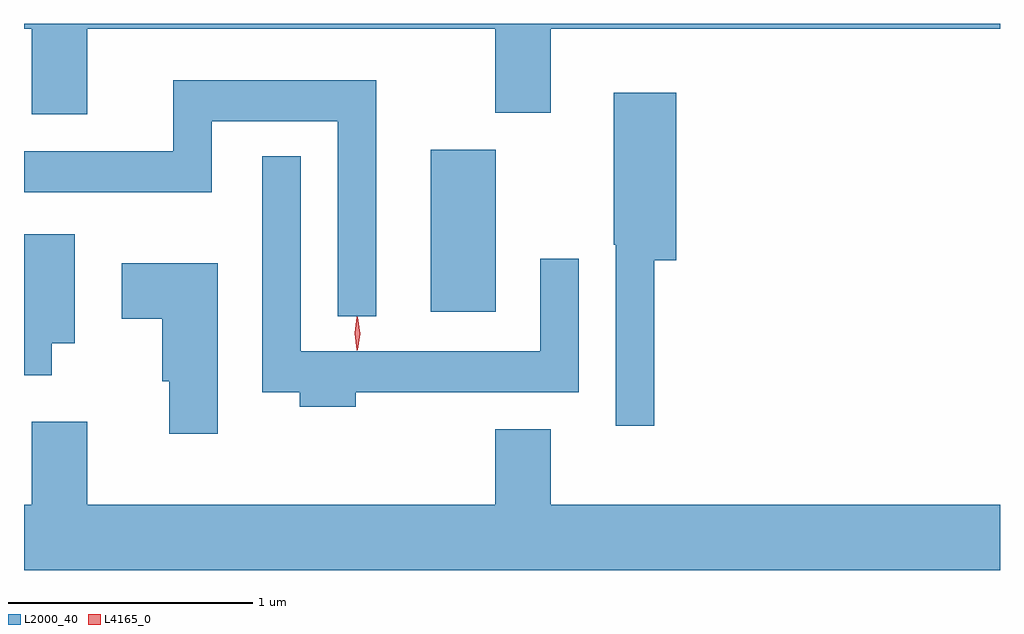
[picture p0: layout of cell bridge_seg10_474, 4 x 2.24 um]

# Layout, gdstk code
import gdstk
lib = gdstk.Library(unit=1e-6, precision=1e-09)
def R(c, l, rs):  # rectangles x0, y0, x1, y1
    for r in rs: c.add(gdstk.rectangle(r[:2], r[2:], *l))
def P(c, l, *ps):  # polygons
    for p in ps: c.add(gdstk.Polygon(p, *l))
L2000_40 = (2000, 40)
L4165_0 = (4165, 0)

bridge_seg10_474 = lib.new_cell('bridge_seg10_474')
R(bridge_seg10_474, L2000_40, [(909.376,2174.916,909.644,2175.579)])
P(bridge_seg10_474, L2000_40, [(907.969,2176.076),(909.641,2176.076),(909.641,2175.731),(909.869,2175.731),(909.869,2176.076),(911.71,2176.076),(911.71,2176.096),(907.71,2176.096),(907.71,2176.076),(907.741,2176.076),(907.741,2175.726),(907.969,2175.726)],
  [(909.154,2175.864),(908.321,2175.864),(908.321,2175.574),(907.71,2175.574),(907.71,2175.406),(908.479,2175.406),(908.479,2175.696),(908.996,2175.696),(908.996,2174.898),(909.154,2174.898)],
  [(910.294,2175.126),(910.384,2175.126),(910.384,2175.814),(910.126,2175.814),(910.126,2175.19),(910.136,2175.19),(910.136,2174.448),(910.294,2174.448)],
  [(909.069,2174.586),(909.984,2174.586),(909.984,2175.133),(909.826,2175.133),(909.826,2174.754),(908.844,2174.754),(908.844,2175.553),(908.686,2175.553),(908.686,2174.586),(908.841,2174.586),(908.841,2174.526),(909.069,2174.526)],
  [(907.824,2174.786),(907.919,2174.786),(907.919,2175.234),(907.71,2175.234),(907.71,2174.656),(907.824,2174.656)],
  [(908.504,2175.114),(908.111,2175.114),(908.111,2174.886),(908.276,2174.886),(908.276,2174.631),(908.306,2174.631),(908.306,2174.416),(908.504,2174.416)],
  [(911.71,2174.124),(909.869,2174.124),(909.869,2174.434),(909.641,2174.434),(909.641,2174.124),(907.969,2174.124),(907.969,2174.464),(907.741,2174.464),(907.741,2174.124),(907.71,2174.124),(907.71,2173.856),(911.71,2173.856)])
P(bridge_seg10_474, L4165_0, [(909.075,2174.757),(909.074,2174.758),(909.065,2174.827),(909.074,2174.896),(909.075,2174.896),(909.075,2174.896),(909.085,2174.827),(909.075,2174.758)],
  [(909.077,2174.76),(909.068,2174.826),(909.077,2174.892),(909.078,2174.893),(909.078,2174.892),(909.088,2174.826),(909.078,2174.76),(909.078,2174.76)])

lib.write_gds('bridge_seg10_474.gds')
